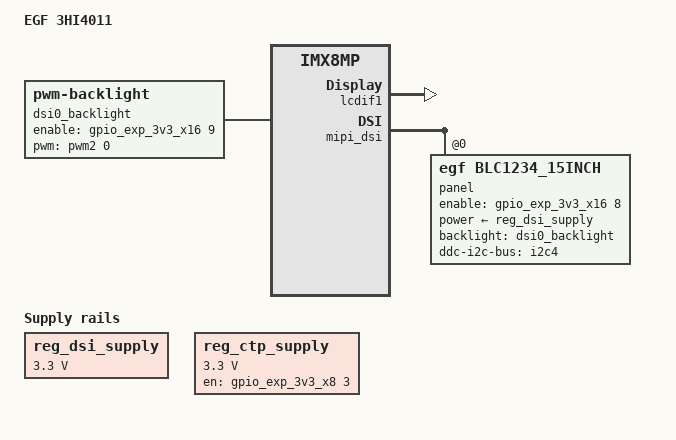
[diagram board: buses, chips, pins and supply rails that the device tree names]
// SPDX-License-Identifier: GPL-2.0+
/*
 * Copyright 2020 NXP
 * Copyright 2024 Elettronica GF s.r.l. con Socio Unico
 */

/dts-v1/;

#include "imx8mp-egf-3pb1001.dts"
#include <dt-bindings/pwm/pwm.h>

 / {
	model = "EGF 3HI4011";
	compatible = "fsl,imx8mp";
 
 	reg_dsi_supply: regulator-3v3-dsi{
		compatible = "regulator-fixed";
		regulator-name = "DSI-3V3";
		regulator-min-microvolt = <3300000>;
		regulator-max-microvolt = <3300000>;
	};
	
	reg_ctp_supply: regulator-3v3-ctp {
		compatible = "regulator-fixed";
		regulator-name = "VCC_3V3_CTP";
		gpio = <&gpio_exp_3v3_x8 3 GPIO_ACTIVE_HIGH>;
		regulator-min-microvolt = <3300000>;
		regulator-max-microvolt = <3300000>;
		enable-active-high;
		regulator-always-on;
	};
	
 	dsi0_backlight: backlight {
		compatible = "pwm-backlight";
		pwms = <&pwm2 0 100000 0>;
		enable-gpios = <&gpio_exp_3v3_x16 9 GPIO_ACTIVE_HIGH>;
		status = "okay";
		brightness-levels = < 0  1  2  3  4  5  6  7  8  9
				     10 11 12 13 14 15 16 17 18 19
				     20 21 22 23 24 25 26 27 28 29
				     30 31 32 33 34 35 36 37 38 39
				     40 41 42 43 44 45 46 47 48 49
				     50 51 52 53 54 55 56 57 58 59
				     60 61 62 63 64 65 66 67 68 69
				     70 71 72 73 74 75 76 77 78 79
				     80 81 82 83 84 85 86 87 88 89
				     90 91 92 93 94 95 96 97 98 99
				    100>;
		default-brightness-level = <80>;
    };
 };

&lcdif1 {
	status = "okay";
};


&mipi_dsi {
	status = "okay";
	panel@0 {
		compatible = "egf,blc1234_15inch";
        reg = <0>;
       	dsi-lanes = <4>;
        pinctrl-names = "default";
		ddc-i2c-bus = <&i2c4>;	
		backlight = <&dsi0_backlight>;	
		enable-gpio = <&gpio_exp_3v3_x16 8 GPIO_ACTIVE_HIGH>;
		power-supply =  <&reg_dsi_supply>;
		status = "okay";
	};

};
